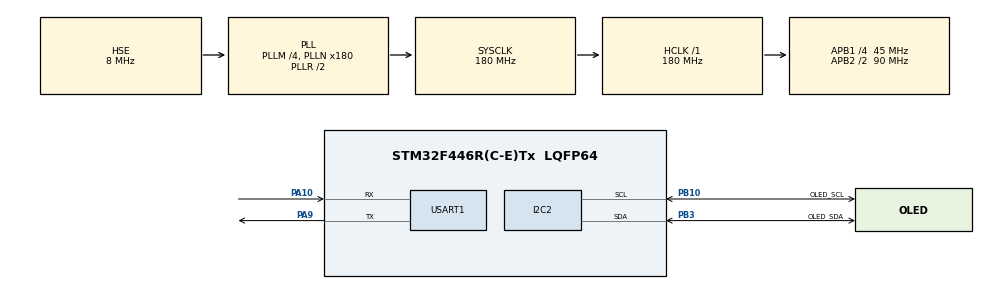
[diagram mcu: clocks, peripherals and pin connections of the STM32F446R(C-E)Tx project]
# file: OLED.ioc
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I2C2.I2C_Mode=I2C_Fast
Mcu.Family=STM32F4
Mcu.Name=STM32F446R(C-E)Tx
Mcu.Package=LQFP64
NVIC.PriorityGroup=NVIC_PRIORITYGROUP_4
PA10.Mode=Asynchronous
PA10.Signal=USART1_RX
PA13.Mode=Serial_Wire
PA13.Signal=SYS_JTMS-SWDIO
PA14.Mode=Serial_Wire
PA14.Signal=SYS_JTCK-SWCLK
PA9.Mode=Asynchronous
PA9.Signal=USART1_TX
PB10.GPIO_Label=OLED_SCL
PB10.Mode=I2C
PB10.Signal=I2C2_SCL
PB3.GPIO_Label=OLED_SDA
PB3.Mode=I2C
PB3.Signal=I2C2_SDA
PH0-OSC_IN.Mode=HSE-External-Oscillator
PH0-OSC_IN.Signal=RCC_OSC_IN
PH1-OSC_OUT.Mode=HSE-External-Oscillator
PH1-OSC_OUT.Signal=RCC_OSC_OUT
ProjectManager.HeapSize=0x200
ProjectManager.StackSize=0x400
ProjectManager.TargetToolchain=Makefile
RCC.AHBFreq_Value=180000000
RCC.APB1CLKDivider=RCC_HCLK_DIV4
RCC.APB1Freq_Value=45000000
RCC.APB1TimFreq_Value=90000000
RCC.APB2CLKDivider=RCC_HCLK_DIV2
RCC.APB2Freq_Value=90000000
RCC.APB2TimFreq_Value=180000000
RCC.CortexFreq_Value=180000000
RCC.HCLKFreq_Value=180000000
RCC.HSE_VALUE=8000000
RCC.PLLM=4
RCC.PLLN=180
RCC.PLLSourceVirtual=RCC_PLLSOURCE_HSE
RCC.RCC_RTC_Clock_Source_FROM_HSE=RCC_RTCCLKSOURCE_HSE_DIV8
RCC.SYSCLKFreq_VALUE=180000000
RCC.SYSCLKSource=RCC_SYSCLKSOURCE_PLLRCLK
RCC.USBFreq_Value=180000000
RCC.VCOOutputFreq_Value=360000000
USART1.VirtualMode=VM_ASYNC
VP_RTC_VS_RTC_Activate.Mode=RTC_Enabled
board=custom

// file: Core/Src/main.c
/* USER CODE BEGIN Header */
/**
 ******************************************************************************
 * @file           : main.c
 * @brief          : Main program body
 ******************************************************************************
 * @attention
 *
 * Copyright (c) 2024 STMicroelectronics.
 * All rights reserved.
 *
 * This software is licensed under terms that can be found in the LICENSE file
 * in the root directory of this software component.
 * If no LICENSE file comes with this software, it is provided AS-IS.
 *
 ******************************************************************************
 */
/* USER CODE END Header */
#include "main.h"
#include "dma.h"
#include "i2c.h"
#include "rtc.h"
#include "usart.h"
#include "gpio.h"

/* USER CODE BEGIN Includes */

#include "ssd1306.h"
#include "fonts.h"
#include <stdio.h>

/* USER CODE END Includes */

void SystemClock_Config(void);

int main(void)
{

  /* MCU Configuration--------------------------------------------------------*/

  /* Reset of all peripherals, Initializes the Flash interface and the Systick. */
  HAL_Init();

  /* Configure the system clock */
  SystemClock_Config();

  /* Initialize all configured peripherals */
  MX_GPIO_Init();
  MX_DMA_Init();
  MX_I2C2_Init();
  MX_RTC_Init();
  MX_USART1_UART_Init();
  /* USER CODE BEGIN 2 */

  // Init lcd using one of the stm32HAL i2c typedefs
  if (ssd1306_Init(&hi2c2) != 0)
  {
    Error_Handler();
  }

  RTC_TimeTypeDef time;
  char timeString[12];
  uint8_t seconds = 0;

  ssd1306_Fill(Black);

  /* USER CODE END 2 */

  /* Infinite loop */
  /* USER CODE BEGIN WHILE */
  while (1)
  {
    /*

    HAL_RTC_GetTime(&hrtc, &time, RTC_FORMAT_BIN);
    HAL_RTC_GetDate(&hrtc, NULL, RTC_FORMAT_BIN);

    if (time.Seconds == seconds)
    {
      continue;
    }

    seconds = time.Seconds;

    sprintf(timeString, "%.2hu:%.2hu:%.2hu", time.Hours, time.Minutes, time.Seconds); // 格式化时间为字符串

    ssd1306_SetCursor(20, 23);
    ssd1306_WriteString(timeString, Font_11x18, White);

    timeString[8] = '\n';                                     // 换行
    HAL_UART_Transmit_DMA(&huart1, (uint8_t *)timeString, 9); // 让 DMA 给串口发时间

    ssd1306_UpdateScreen(&hi2c2);

    */

    HAL_UART_Transmit_DMA(&huart1, "Lily, I love you!\n", 18);

    ssd1306_SetCursor(48, 23);
    ssd1306_WriteString("Lily", Font_11x18, White);

    ssd1306_UpdateScreen(&hi2c2);

    HAL_Delay(1000);

    ssd1306_Fill(Black);

    ssd1306_SetCursor(58, 23);
    ssd1306_WriteString("I", Font_11x18, White);

    ssd1306_UpdateScreen(&hi2c2);

    HAL_Delay(500);

    ssd1306_Fill(Black);

    ssd1306_SetCursor(48, 23);
    ssd1306_WriteString("love", Font_11x18, White);

    ssd1306_UpdateScreen(&hi2c2);

    HAL_Delay(500);

    ssd1306_Fill(Black);

    ssd1306_SetCursor(58, 23);
    ssd1306_WriteString("u", Font_11x18, White);

    ssd1306_UpdateScreen(&hi2c2);

    ssd1306_Fill(Black);

    HAL_Delay(2000);

    /* USER CODE END WHILE */

  }
}

void SystemClock_Config(void)
{
  RCC_OscInitTypeDef RCC_OscInitStruct = {0};
  RCC_ClkInitTypeDef RCC_ClkInitStruct = {0};

  /** Configure the main internal regulator output voltage
   */
  __HAL_RCC_PWR_CLK_ENABLE();
  __HAL_PWR_VOLTAGESCALING_CONFIG(PWR_REGULATOR_VOLTAGE_SCALE1);

  /** Initializes the RCC Oscillators according to the specified parameters
   * in the RCC_OscInitTypeDef structure.
   */
  RCC_OscInitStruct.OscillatorType = RCC_OSCILLATORTYPE_LSI | RCC_OSCILLATORTYPE_HSE;
  RCC_OscInitStruct.HSEState = RCC_HSE_ON;
  RCC_OscInitStruct.LSEState = RCC_LSE_OFF;
  RCC_OscInitStruct.LSIState = RCC_LSI_ON;
  RCC_OscInitStruct.PLL.PLLState = RCC_PLL_ON;
  RCC_OscInitStruct.PLL.PLLSource = RCC_PLLSOURCE_HSE;
  RCC_OscInitStruct.PLL.PLLM = 4;
  RCC_OscInitStruct.PLL.PLLN = 180;
  RCC_OscInitStruct.PLL.PLLP = RCC_PLLP_DIV2;
  RCC_OscInitStruct.PLL.PLLQ = 2;
  RCC_OscInitStruct.PLL.PLLR = 2;
  if (HAL_RCC_OscConfig(&RCC_OscInitStruct) != HAL_OK)
  {
    Error_Handler();
  }

  /** Activate the Over-Drive mode
   */
  if (HAL_PWREx_EnableOverDrive() != HAL_OK)
  {
    Error_Handler();
  }

  /** Initializes the CPU, AHB and APB buses clocks
   */
  RCC_ClkInitStruct.ClockType = RCC_CLOCKTYPE_HCLK | RCC_CLOCKTYPE_SYSCLK | RCC_CLOCKTYPE_PCLK1 | RCC_CLOCKTYPE_PCLK2;
  RCC_ClkInitStruct.SYSCLKSource = RCC_SYSCLKSOURCE_PLLRCLK;
  RCC_ClkInitStruct.AHBCLKDivider = RCC_SYSCLK_DIV1;
  RCC_ClkInitStruct.APB1CLKDivider = RCC_HCLK_DIV4;
  RCC_ClkInitStruct.APB2CLKDivider = RCC_HCLK_DIV2;

  if (HAL_RCC_ClockConfig(&RCC_ClkInitStruct, FLASH_LATENCY_5) != HAL_OK)
  {
    Error_Handler();
  }
}

void Error_Handler(void)
{
  __disable_irq();
  while (1)
  {
  }
}
